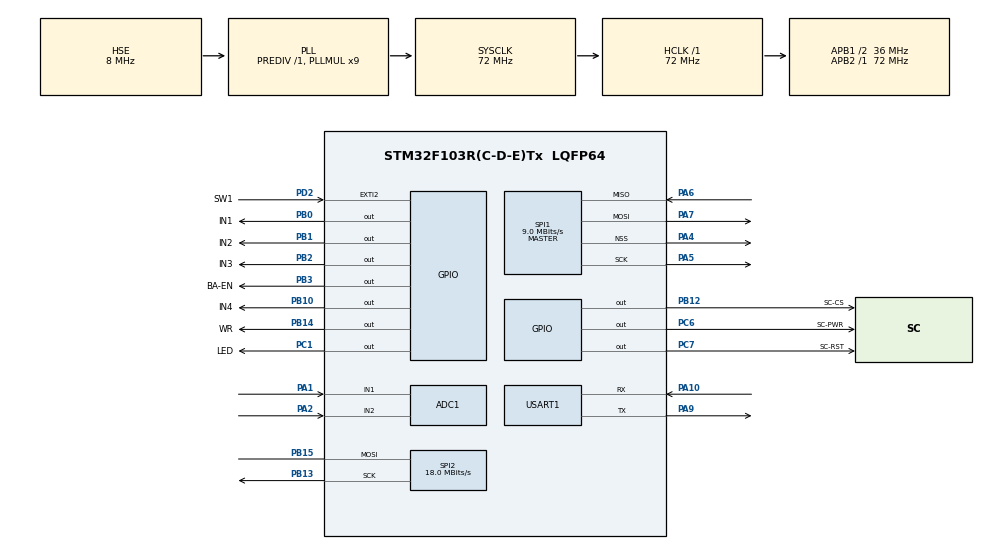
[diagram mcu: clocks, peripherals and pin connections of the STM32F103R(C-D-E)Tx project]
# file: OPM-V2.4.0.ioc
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ADC1.Channel-0\#ChannelRegularConversion=ADC_CHANNEL_1
ADC1.EnableInjectedConversion=DISABLE
ADC1.NbrOfConversionFlag=1
ADC1.Rank-0\#ChannelRegularConversion=1
ADC1.SamplingTime-0\#ChannelRegularConversion=ADC_SAMPLETIME_1CYCLE_5
ADC1.master=1
Dma.ADC1.1.Direction=DMA_PERIPH_TO_MEMORY
Dma.ADC1.1.Instance=DMA1_Channel1
Dma.ADC1.1.MemDataAlignment=DMA_MDATAALIGN_HALFWORD
Dma.ADC1.1.MemInc=DMA_MINC_ENABLE
Dma.ADC1.1.Mode=DMA_NORMAL
Dma.ADC1.1.PeriphDataAlignment=DMA_PDATAALIGN_HALFWORD
Dma.ADC1.1.PeriphInc=DMA_PINC_DISABLE
Dma.ADC1.1.Priority=DMA_PRIORITY_LOW
Dma.Request0=USART1_RX
Dma.Request1=ADC1
Dma.Request2=USART1_TX
Dma.USART1_RX.0.Direction=DMA_PERIPH_TO_MEMORY
Dma.USART1_RX.0.Instance=DMA1_Channel5
Dma.USART1_RX.0.MemDataAlignment=DMA_MDATAALIGN_BYTE
Dma.USART1_RX.0.MemInc=DMA_MINC_ENABLE
Dma.USART1_RX.0.Mode=DMA_NORMAL
Dma.USART1_RX.0.PeriphDataAlignment=DMA_PDATAALIGN_BYTE
Dma.USART1_RX.0.PeriphInc=DMA_PINC_DISABLE
Dma.USART1_RX.0.Priority=DMA_PRIORITY_LOW
Dma.USART1_TX.2.Direction=DMA_MEMORY_TO_PERIPH
Dma.USART1_TX.2.Instance=DMA1_Channel4
Dma.USART1_TX.2.MemDataAlignment=DMA_MDATAALIGN_BYTE
Dma.USART1_TX.2.MemInc=DMA_MINC_ENABLE
Dma.USART1_TX.2.Mode=DMA_NORMAL
Dma.USART1_TX.2.PeriphDataAlignment=DMA_PDATAALIGN_BYTE
Dma.USART1_TX.2.PeriphInc=DMA_PINC_DISABLE
Dma.USART1_TX.2.Priority=DMA_PRIORITY_LOW
Mcu.Family=STM32F1
Mcu.Name=STM32F103R(C-D-E)Tx
Mcu.Package=LQFP64
NVIC.DMA1_Channel1_IRQn=true\:0\:0\:false\:false\:true\:false\:true\:true
NVIC.DMA1_Channel4_IRQn=true\:0\:0\:false\:false\:true\:false\:true\:true
NVIC.DMA1_Channel5_IRQn=true\:0\:0\:false\:false\:true\:false\:true\:true
NVIC.EXTI2_IRQn=true\:0\:0\:false\:false\:true\:true\:true\:true
NVIC.PriorityGroup=NVIC_PRIORITYGROUP_4
NVIC.TIM2_IRQn=true\:0\:0\:false\:false\:true\:true\:true\:true
NVIC.USART1_IRQn=true\:0\:0\:true\:false\:true\:true\:true\:true
PA1.Signal=ADCx_IN1
PA10.Mode=Asynchronous
PA10.Signal=USART1_RX
PA13.Mode=Serial_Wire
PA13.Signal=SYS_JTMS-SWDIO
PA14.Mode=Serial_Wire
PA14.Signal=SYS_JTCK-SWCLK
PA2.Signal=ADCx_IN2
PA4.Mode=NSS_Signal_Hard_Output
PA4.Signal=SPI1_NSS
PA5.Mode=Full_Duplex_Master
PA5.Signal=SPI1_SCK
PA6.Mode=Full_Duplex_Master
PA6.Signal=SPI1_MISO
PA7.Mode=Full_Duplex_Master
PA7.Signal=SPI1_MOSI
PA9.Mode=Asynchronous
PA9.Signal=USART1_TX
PB0.GPIO_Label=IN1
PB0.GPIO_PuPd=GPIO_PULLDOWN
PB0.Signal=GPIO_Output
PB1.GPIO_Label=IN2
PB1.GPIO_PuPd=GPIO_PULLDOWN
PB1.Signal=GPIO_Output
PB10.GPIO_Label=IN4
PB10.GPIO_PuPd=GPIO_PULLDOWN
PB10.Signal=GPIO_Output
PB12.GPIO_Label=SC-CS
PB12.GPIO_PuPd=GPIO_PULLDOWN
PB12.Signal=GPIO_Output
PB13.Mode=Simplex_Bidirectional_Master
PB13.Signal=SPI2_SCK
PB14.GPIO_Label=WR
PB14.GPIO_PuPd=GPIO_PULLDOWN
PB14.Signal=GPIO_Output
PB15.Mode=Simplex_Bidirectional_Master
PB15.Signal=SPI2_MOSI
PB2.GPIO_Label=IN3
PB2.GPIO_PuPd=GPIO_PULLDOWN
PB2.Signal=GPIO_Output
PB3.GPIO_Label=BA-EN
PB3.GPIO_PuPd=GPIO_PULLDOWN
PB3.Signal=GPIO_Output
PC1.GPIO_Label=LED
PC1.GPIO_ModeDefaultOutputPP=GPIO_MODE_OUTPUT_PP
PC1.GPIO_PuPd=GPIO_PULLUP
PC1.Signal=GPIO_Output
PC6.GPIO_Label=SC-PWR
PC6.GPIO_PuPd=GPIO_PULLDOWN
PC6.Signal=GPIO_Output
PC7.GPIO_Label=SC-RST
PC7.GPIO_PuPd=GPIO_PULLDOWN
PC7.Signal=GPIO_Output
PD0-OSC_IN.Mode=HSE-External-Oscillator
PD0-OSC_IN.Signal=RCC_OSC_IN
PD1-OSC_OUT.Mode=HSE-External-Oscillator
PD1-OSC_OUT.Signal=RCC_OSC_OUT
PD2.GPIO_Label=SW1
PD2.GPIO_ModeDefaultEXTI=GPIO_MODE_IT_RISING_FALLING
PD2.GPIO_PuPd=GPIO_PULLUP
PD2.Signal=GPXTI2
ProjectManager.HeapSize=0x200
ProjectManager.StackSize=0x400
ProjectManager.TargetToolchain=STM32CubeIDE
RCC.ADCPresc=RCC_ADCPCLK2_DIV6
RCC.AHBFreq_Value=72000000
RCC.APB1CLKDivider=RCC_HCLK_DIV2
RCC.APB1Freq_Value=36000000
RCC.APB1TimFreq_Value=72000000
RCC.APB2Freq_Value=72000000
RCC.APB2TimFreq_Value=72000000
RCC.HCLKFreq_Value=72000000
RCC.PLLMUL=RCC_PLL_MUL9
RCC.PLLSourceVirtual=RCC_PLLSOURCE_HSE
RCC.SYSCLKFreq_VALUE=72000000
RCC.SYSCLKSource=RCC_SYSCLKSOURCE_PLLCLK
RCC.USBFreq_Value=72000000
SH.ADCx_IN1.0=ADC1_IN1,IN1
SH.ADCx_IN2.0=ADC1_IN2,IN2
SPI1.BaudRatePrescaler=SPI_BAUDRATEPRESCALER_8
SPI1.CLKPhase=SPI_PHASE_2EDGE
SPI1.CLKPolarity=SPI_POLARITY_HIGH
SPI1.CalculateBaudRate=9.0 MBits/s
SPI1.Direction=SPI_DIRECTION_2LINES
SPI1.Mode=SPI_MODE_MASTER
SPI1.VirtualNSS=VM_NSSHARD
SPI1.VirtualType=VM_MASTER
SPI2.CalculateBaudRate=18.0 MBits/s
SPI2.Direction=SPI_DIRECTION_1LINE
SPI2.Mode=SPI_MODE_MASTER
SPI2.VirtualType=VM_MASTER
TIM2.AutoReloadPreload=TIM_AUTORELOAD_PRELOAD_ENABLE
TIM2.Period=65535
TIM2.Prescaler=7199
USART1.VirtualMode=VM_ASYNC
VP_TIM2_VS_ClockSourceINT.Mode=Internal
board=custom

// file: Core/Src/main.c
/* USER CODE BEGIN Header */
/**
  ******************************************************************************
  * @file           : main.c
  * @brief          : Main program body
  ******************************************************************************
  * @attention
  *
  * Copyright (c) 2025 STMicroelectronics.
  * All rights reserved.
  *
  * This software is licensed under terms that can be found in the LICENSE file
  * in the root directory of this software component.
  * If no LICENSE file comes with this software, it is provided AS-IS.
  *
  ******************************************************************************
  */
/* USER CODE END Header */
#include "main.h"
#include "adc.h"
#include "dma.h"
#include "spi.h"
#include "tim.h"
#include "usart.h"
#include "gpio.h"
#include "flash.h"

/* USER CODE BEGIN Includes */
#include "button_stages.h"
#include "Range_Ctrl.h"
#include "lcd.h"
/* USER CODE END Includes */

/* USER CODE BEGIN PTD */

// 2号PD校准数据表（ADC值 vs 功率值）
#define PD2_TABLE_SIZE  16

// ADC值表（必须按从小到大排序）
const uint32_t PD2_ADC_TABLE[PD2_TABLE_SIZE] = {
    275413,      // 0
    966302,      // 1
    1747266,     // 2
    3127446,     // 3
    3646239,     // 4
    5125308,     // 5
    6079006,     // 6
    7526277,     // 7
    8853456,     // 8  ← 0x8717D0 对应这里
    9716506,     // 9
    10832420,    // 10
    12027265,    // 11
    13078794,    // 12
    14295701,    // 13
    15214993,    // 14
    16007949     // 15
};

// 对应的功率值表（单位：μW 或 mW，根据实际）
const float PD2_POWER_TABLE[PD2_TABLE_SIZE] = {
    10.0f,       // 0
    33.3f,       // 1
    60.8f,       // 2
    103.0f,      // 3
    116.0f,      // 4
    161.0f,      // 5
    190.0f,      // 6
    234.0f,      // 7
    275.0f,      // 8  ← 0x8717D0 对应 275
    308.0f,      // 9
    355.0f,      // 10
    395.0f,      // 11
    441.0f,      // 12
    485.0f,      // 13
    519.0f,      // 14
    557.0f       // 15
};
extern uint8_t rx_len;

extern uint8_t BA_Stage;
//#define HAL_MAX_DELAY      0xFFFFFFFFU
uint8_t BA_Ctrl = 0;                       //上电控制
uint8_t BA_Stage = 0;                       //上电状态标志位

char info_str[20];  // 用于格式化输出，增加长度以适应ADC数据显示
char debug_buffer[128];
uint8_t UART_Stage = 0;                     //串口发送状态标志位
uint32_t new_value = 0;
uint32_t averaged_adc_value;               //平均AD值
uint32_t adc_buffer[10] = {0}; //ADC读取缓存
uint8_t Flash_Buffer[1500];      //flash寄存器
uint8_t Test_Buffer[16]= {1};   //测试寄存器
uint8_t range_lock = 0;                     //量程锁
uint8_t range_high = 1;                     //高量程启用标志位
uint8_t range_mid = 0;                      //中量程启用标志位
uint8_t range_low = 0;                      //低量程启用标志位
uint8_t range;                              //量程
uint8_t change_flag = 0;                    //量程改变标志位
uint8_t detec_wave;                        //检测波长
uint32_t g_detec_wave = 0;                  // 缓存波长数值

uint32_t Param_1,Param_2,Param_3,Param_4,Param_5,Param_6;   //拟合参数
float real_low_intercept,real_mid_intercept,real_high_intercept;                      //真实截距

//// 多项式拟合参数（对应 y = a*x^4 + b*x^3 + c*x^2 + d*x + e）
//#define POLY_A  (-6.41183384613951E-27)   // x^4 系数
//#define POLY_B  (+2.29588197534935E-19)    // x^3 系数
//#define POLY_C  (-2.21685207997818E-12)   // x^2 系数
//#define POLY_D  (+3.75709745416828E-05)     // x^1 系数
//#define POLY_E  (-2.26906490651210E-01)    // 常数项
float POLY_A, POLY_B, POLY_C, POLY_D, POLY_E;

float real_P;          //真实功率
float real_P_out = 0;  //真实功率输出（数据缓冲，防止内存混乱）

/* 去抖动参数 - 根据实际需求调整 */
const uint32_t RANGE_SETTLE_TIME = 200;     // 硬件稳定时间(ms)
const uint32_t HYSTERESIS_THRESHOLD = 0x20000; // 滞后阈值，避免在临界值抖动

/* 滞后阈值配置 */
const uint32_t OVER_THRESHOLD_HIGH = 0xFAE148;     // 向上切换阈值
const uint32_t OVER_THRESHOLD_LOW  = 0xF0E148;     // 向上切换滞后阈值
const uint32_t UNDER_THRESHOLD_LOW = 0x199999;     // 向下切换阈值
const uint32_t UNDER_THRESHOLD_HIGH = 0x239999;    // 向下切换滞后阈值

/* USER CODE END PTD */

/* USER CODE BEGIN PD */
void Debug_Print(const char* format, ...)
{
    va_list args;
    va_start(args, format);
    vsprintf(debug_buffer, format, args);
    va_end(args);
    UART_SendString(debug_buffer);
}
/* USER CODE END PD */

void SystemClock_Config(void);
/* USER CODE BEGIN PFP */
double Calculate_RealP_Horner(double averaged_adc_value);
float Calculate_Power_Linear(uint32_t adc_val);
/* USER CODE END PFP */

int main(void)
{

  /* MCU Configuration--------------------------------------------------------*/

  /* Reset of all peripherals, Initializes the Flash interface and the Systick. */
  HAL_Init();

  /* Configure the system clock */
  SystemClock_Config();

  /* Initialize all configured peripherals */
  MX_GPIO_Init();
  MX_DMA_Init();
  MX_ADC1_Init();
  MX_SPI1_Init();
  MX_SPI2_Init();
  MX_USART1_UART_Init();
  MX_TIM2_Init();
  /* USER CODE BEGIN 2 */

  // 初始化AD7791
  AD7791_Init();
  HAL_Delay(100);
  // 初始化按钮处理
  //Button_Init();
  Power_On_Check();    //上电按键检测

  // 初始化DMA接收
  UART_DMA_Rx_Init();

  // 参数区为空时只初始化一次，掉电重启后保留已经保存的参数
  if (!Flash_HasValidParams())
  {
    Flash_InitDefaultParams();
  }
  Param_Init_New();
  // ===== 调试：检查 POLY_A~E 是否正确加载 =====
  snprintf(debug_buffer, sizeof(debug_buffer),
           "POLY_A=%.6e\r\nPOLY_B=%.6e\r\nPOLY_C=%.6e\r\nPOLY_D=%.6e\r\nPOLY_E=%.6e\r\n",
           POLY_A, POLY_B, POLY_C, POLY_D, POLY_E);
  UART_SendString(debug_buffer);

  //ceshi
  for(int i = 0;i<=10;i++)
  {
	  Test_Buffer[i] = 5;
  }

  HAL_Delay(300);
  LCD_StartPage_Init();

  MX_TIM2_Init();
  range_lock = 0;
  Range_switch();

  memset(adc_buffer, 0, sizeof(adc_buffer));  //清空adc寄存器
  HAL_Delay(200);

  /* USER CODE END 2 */

  /* Infinite loop */
  /* USER CODE BEGIN WHILE */

  while (1)
  {
//	  uint16_t t0 = __HAL_TIM_GET_COUNTER(&htim2);   // 循环开始时间
//      HAL_GPIO_TogglePin(GPIOC, GPIO_PIN_1);
	  //ADC_Use();
	  //参数测试
	  //Update_LowSlope_FromFlash();

	  //memset(UART_TxBuffer, 0, 16);
	  //UART_SendString("before read\r\n");
	  //数据读取
	  new_value = 0;
	  new_value = AD7791_ReadData();
//	  snprintf(debug_buffer, sizeof(debug_buffer),
//	           "new_value=%d\r\n",new_value);
//	  UART_SendString(debug_buffer);
	  // 更新量程判断
	   //Range_judge(new_value);
	  //量程管理
	   Range_switch();

	    // ===== 使用局部静态变量，避免跨文件问题 =====
	    static uint32_t local_adc_buffer[10] = {0};
	    static uint8_t local_index = 0;
	    static uint8_t local_filled = 0;

	    // 更新缓冲区
	    local_adc_buffer[local_index] = new_value;
	    local_index++;

	    if (local_index >= 10) {
	        local_index = 0;
	        local_filled = 1;
	    }

	    // 计算平均值
	    uint8_t count = local_filled ? 10 : local_index;
	    uint64_t sum = 0;  // 使用64位确保不溢出

	    for(uint8_t i = 0; i < count; i++) {
	        sum += local_adc_buffer[i];
	    }

	    averaged_adc_value = (count > 0) ? (uint32_t)(sum / count) : new_value;

	    //计算实际功率值
	    // 将ADC值转换为float进行计算
	    double x = (double)averaged_adc_value;

	    // 计算多项式（使用优化版本）
	    real_P = Calculate_RealP_Horner(x);

	    // ===== 使用分段线性插值计算功率 =====
	    //real_P = Calculate_Power_Linear(averaged_adc_value);
	    real_P_out = (real_P > 0.0f) ? real_P : 0.0f;

//	    snprintf(debug_buffer, sizeof(debug_buffer), "%.2f\r\n", real_P_out);
//	    UART_SendString(debug_buffer);
	      //UART_SendString("after read\r\n");

	      // ===== 关键：安全更新显示缓冲区 =====
	      LCD_UpdateDisplayBuffers(real_P_out, averaged_adc_value);

//	      UART_TxBuffer[0] = (averaged_adc_value >> 24) & 0xFF;  // 最高字节（可能为0）
//	      UART_TxBuffer[1] = (averaged_adc_value >> 16) & 0xFF;  // 次高字节（如 0xFF）
//	      UART_TxBuffer[2] = (averaged_adc_value >> 8) & 0xFF;   // 第三字节（如 0x57）
//	      UART_TxBuffer[3] = averaged_adc_value & 0xFF;          // 最低字节（如 0x81）
//
//	      UART_TxBuffer[4] = range;
//	      UART_TxBuffer[5] = local_index;    // 修正：用 local_index 代替 buffer_index
//	      UART_TxBuffer[6] = range_lock;
//	      HAL_UART_Transmit_DMA(&huart1,UART_TxBuffer,8);

	    //LCD_Fill(15, 55, 175, 105, BLACK);
		LCD_Run();  // 传局部变量，安全

	  //UART_SendString("after Judge\r\n");

	  // 按键检测
	  //Check_Press();
	  Button_Process();
	  //UART_SendString("before DC\r\n");
	  //电源管理
	  //ADC_Use();
	  //Ba_EN_ctrl();
	  //BA_ctrl();
	  change_flag = 0;
	  //UART_SendString("after DC\r\n");

	  //UART_SendString("before print");

	  //UART_SendString("after print\r\n");

	    //HAL_Delay(50);

    /* USER CODE END WHILE */

    /* USER CODE BEGIN 3 */

	  command();         //指令处理
//	  uint16_t t1 = __HAL_TIM_GET_COUNTER(&htim2);   // 循环结束时间
//
//	      // 计算时间差（处理16位溢出）
//	      uint16_t elapsed;
//	      if (t1 >= t0) {
//	          elapsed = t1 - t0;           // 正常情况
//	      } else {
//	          elapsed = (65535 - t0) + t1 + 1;  // 溢出情况
//	      }
//
//	      // 每次循环结束发送时间（格式：T=1234μs）
//	      char time_buf[16];
//	      int len = snprintf(time_buf, sizeof(time_buf), "T=%u\r\n", elapsed);
//	      HAL_UART_Transmit(&huart1, (uint8_t*)time_buf, len, 10);
  }
  /* USER CODE END 3 */
}

void SystemClock_Config(void)
{
  RCC_OscInitTypeDef RCC_OscInitStruct = {0};
  RCC_ClkInitTypeDef RCC_ClkInitStruct = {0};
  RCC_PeriphCLKInitTypeDef PeriphClkInit = {0};

  /** Initializes the RCC Oscillators according to the specified parameters
  * in the RCC_OscInitTypeDef structure.
  */
  RCC_OscInitStruct.OscillatorType = RCC_OSCILLATORTYPE_HSE;
  RCC_OscInitStruct.HSEState = RCC_HSE_ON;
  RCC_OscInitStruct.HSEPredivValue = RCC_HSE_PREDIV_DIV1;
  RCC_OscInitStruct.HSIState = RCC_HSI_ON;
  RCC_OscInitStruct.PLL.PLLState = RCC_PLL_ON;
  RCC_OscInitStruct.PLL.PLLSource = RCC_PLLSOURCE_HSE;
  RCC_OscInitStruct.PLL.PLLMUL = RCC_PLL_MUL9;
  if (HAL_RCC_OscConfig(&RCC_OscInitStruct) != HAL_OK)
  {
    Error_Handler();
  }

  /** Initializes the CPU, AHB and APB buses clocks
  */
  RCC_ClkInitStruct.ClockType = RCC_CLOCKTYPE_HCLK|RCC_CLOCKTYPE_SYSCLK
                              |RCC_CLOCKTYPE_PCLK1|RCC_CLOCKTYPE_PCLK2;
  RCC_ClkInitStruct.SYSCLKSource = RCC_SYSCLKSOURCE_PLLCLK;
  RCC_ClkInitStruct.AHBCLKDivider = RCC_SYSCLK_DIV1;
  RCC_ClkInitStruct.APB1CLKDivider = RCC_HCLK_DIV2;
  RCC_ClkInitStruct.APB2CLKDivider = RCC_HCLK_DIV1;

  if (HAL_RCC_ClockConfig(&RCC_ClkInitStruct, FLASH_LATENCY_2) != HAL_OK)
  {
    Error_Handler();
  }
  PeriphClkInit.PeriphClockSelection = RCC_PERIPHCLK_ADC;
  PeriphClkInit.AdcClockSelection = RCC_ADCPCLK2_DIV6;
  if (HAL_RCCEx_PeriphCLKConfig(&PeriphClkInit) != HAL_OK)
  {
    Error_Handler();
  }
}

/* USER CODE BEGIN 4 */
void command(void)
{
	if(rx_len)
  {
	  switch(UART_RxBuffer[0])
	  {
	  	  case 0x03:
		  {
			  //HAL_UART_Transmit(&huart1, (uint8_t*)"Hello\r\n", 7, 1000);
					  switch(UART_RxBuffer[1])
					  {
						  case 0x01:                 //开始记录
						  {
//							  snprintf(debug_buffer, sizeof(debug_buffer), "%d，%.3f，%d，%.3f，%d，%.3f\r\n", low_slope,real_low_intercept,mid_slope,real_mid_intercept,high_slope,real_high_intercept);
//							  UART_SendString(debug_buffer);
						  }
						  break;

						  case 0x00:                 //停止记录
						  {

						  }
						  break;

						  case 0x11:				// 手动选择低量程
						  {
							  range_high = 0;
							  range_mid = 0;
							  range_low = 1;
							  Range_switch();
							  range = 1;
							  range_lock = 1;  //锁定量程

						  }
						  break;

						  case 0x12:					// 手动选择中量程
						  {
							  range_high = 0;
							  range_mid = 1;
							  range_low = 0;
							  Range_switch();
							  range = 2;
							  range_lock = 1;  //锁定量程
						  }
						  break;

						  case 0x13:					// 手动选择高量程
						  {
							  range_high = 1;
							  range_mid = 0;
							  range_low = 0;
							  Range_switch();
							  range = 3;
							  range_lock = 1;  //锁定量程
						  }
						  break;

						  case 0x14:					// 回到自动量程（开机默认自动量程）
						  {
							  range_lock = 0;  //解锁量程
							  Range_switch();
						  }
						  break;

						  default:
							  break;
					  }
				  }
				  break;

				  case 0x05:                           //读取flash的数据并发送
				  {
					  //HAL_UART_Transmit(&huart1, (uint8_t*)"Hello\r\n", 7, 1000);
					  switch(UART_RxBuffer[1])
					  {
					  	  case 0x13:                              //OPM运行状态
						  {
							    memset(UART_TxBuffer, 0, sizeof(UART_TxBuffer));

							    // 第0字节：供电状态
							    UART_TxBuffer[0] = BA_Stage;

							    // 第1字节：量程
							    UART_TxBuffer[1] = range;

							    // 第2-5字节：波长（4字节大端序）
							    // ✅ 修复：使用 g_detec_wave（uint32_t）而不是 detec_wave（uint8_t）
							    uint32_t wave_value = g_detec_wave;  // 使用 32 位变量
//							    UART_TxBuffer[2] = (wave_value >> 24) & 0xFF;
//							    UART_TxBuffer[3] = (wave_value >> 16) & 0xFF;
							    UART_TxBuffer[2] = (wave_value >> 8) & 0xFF;
							    UART_TxBuffer[3] = wave_value & 0xFF;

							    // 第6-8字节：ADC读数（3字节，AD7791是24位）
							    // new_value 是 uint32_t，取低24位
							    UART_TxBuffer[4] = (new_value >> 16) & 0xFF;  // 最高字节
							    UART_TxBuffer[5] = (new_value >> 8) & 0xFF;
							    UART_TxBuffer[6] = new_value & 0xFF;          // 最低字节

//							    // 第9-12字节：功率值（4字节float，IEEE 754）
//							    // 注意：STM32是小端序，直接memcpy即可
							    memcpy(&UART_TxBuffer[7], &real_P_out, sizeof(float));
//
//							    // 第13字节：量程锁定标志
//							    UART_TxBuffer[13] = range_lock;
//
//							    // 第14-15字节：保留
//							    UART_TxBuffer[14] = 0x00;
//							    UART_TxBuffer[15] = 0x00;

							    HAL_UART_Transmit_DMA(&huart1, UART_TxBuffer, 12);
							    break;
						  }
						  break;

						  default:
			  		  	  {
			  		  		ReadParam_New();   //读取参数
			  		  	  }
			  		  	  break;
					  }
				  }
				  break;

				  case 0x06:                           //将上位机发送数据的写入flash
				  {
					  HAL_UART_Transmit_DMA(&huart1,Test_Buffer,16);
					  ChangeParam_New();
				  }
				  break;

				  default:
					  break;
			  }
	  rx_len = 0;
  }
}

//void HAL_TIM_PeriodElapsedCallback(TIM_HandleTypeDef *htim)
//{
//	if(htim->Instance == TIM2)  // 判断是哪个定时器
//	{
//        // 原子复制：关中断保护
//        __disable_irq();
//        float local_copy = real_P_out;  // 复制到局部变量
//        __enable_irq();
//
//        LCD_Fill(15, 55, 175, 105, BLACK);
//        LCD_Run();  // 传局部变量，安全
//
//	}
//}

// 多项式计算函数：计算 y = a*x^4 + b*x^3 + c*x^2 + d*x + e
double Calculate_RealP_Horner(double averaged_adc_value)
{
    double x = averaged_adc_value;

    // Horner方法计算，减少运算次数，提高数值稳定性
    return POLY_E + x * (POLY_D + x * (POLY_C + x * (POLY_B + x * POLY_A)));
}

/**
 * @brief  分段线性插值计算功率
 * @param  adc_val: ADC平均值
 * @retval 计算得到的功率值
 */
float Calculate_Power_Linear(uint32_t adc_val)
{
    uint8_t i;
    float ratio;

    // 边界处理：小于最小值
    if(adc_val <= PD2_ADC_TABLE[0])
    {
        return PD2_POWER_TABLE[0];
    }

    // 边界处理：大于最大值
    if(adc_val >= PD2_ADC_TABLE[PD2_TABLE_SIZE - 1])
    {
        return PD2_POWER_TABLE[PD2_TABLE_SIZE - 1];
    }

    // 查找所在区间（线性查找，数据量小，足够快）
    for(i = 0; i < PD2_TABLE_SIZE - 1; i++)
    {
        if(adc_val < PD2_ADC_TABLE[i + 1])
        {
            break;  // 找到区间 [i, i+1]
        }
    }

    // 线性插值公式：
    // y = yᵢ + (yᵢ₊₁ - yᵢ) × (x - xᵢ) / (xᵢ₊₁ - xᵢ)
    ratio = (float)(adc_val - PD2_ADC_TABLE[i]) /
            (float)(PD2_ADC_TABLE[i + 1] - PD2_ADC_TABLE[i]);

    return PD2_POWER_TABLE[i] + ratio * (PD2_POWER_TABLE[i + 1] - PD2_POWER_TABLE[i]);
}

/* USER CODE END 4 */

void Error_Handler(void)
{
  __disable_irq();
  while (1)
  {
  }
}
